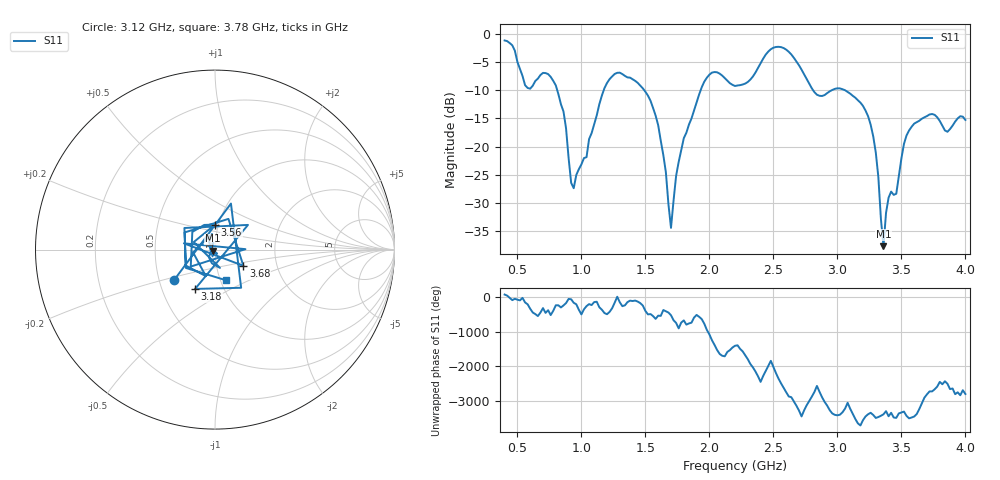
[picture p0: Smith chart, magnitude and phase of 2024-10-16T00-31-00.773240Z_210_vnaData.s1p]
! Created with skrf (http://scikit-rf.org).
# Hz S RI R 50.0
!freq ReS11 ImS11
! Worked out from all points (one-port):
!   181 points, 400 MHz to 4 GHz, reference 50 ohm
!   lowest |S11| = -37.6 dB at 3.36 GHz (marker M1), VSWR 1.03, Z = 48.8 - j0.567 ohm
!   |S11| at or under -10 dB: 811.2 MHz to 1.174 GHz (363.2 MHz wide, 36.6 % of centre); 1.491 GHz to 1.932 GHz (440.8 MHz wide, 25.8 % of centre); 3.06 GHz to end of sweep (the widest 3 of 4)
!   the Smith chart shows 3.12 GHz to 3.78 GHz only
!   S11 on the Smith chart (normalised r, x): 3.12 GHz: 0.60, -0.22; 3.18 GHz: 0.73, -0.34; 3.56 GHz: 0.96, +0.27; 3.68 GHz: 1.35, -0.25; 3.78 GHz: 1.06, -0.38
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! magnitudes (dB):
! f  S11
! 400 MHz  -1.2
! 560 MHz  -9.1
! 740 MHz  -7.1
! 860 MHz  -13.8
! 940 MHz  -27.4
! 1.18 GHz  -9.6
! 1.3 GHz  -6.9
! 1.58 GHz  -14.5
! 1.66 GHz  -24.5
! 1.7 GHz  -34.4
! 1.76 GHz  -22.7
! 1.98 GHz  -7.8
! 2.2 GHz  -9.2
! 2.5 GHz  -2.5
! 2.66 GHz  -4.3
! 2.84 GHz  -10.8
! 3.1 GHz  -10.6
! 3.12 GHz  -11.0
! 3.18 GHz  -12.2
! 3.28 GHz  -18.2
! 3.32 GHz  -25.4
! 3.36 GHz  -37.6
! 3.4 GHz  -29.0
! 3.46 GHz  -28.3
! 3.56 GHz  -17.1
! 3.68 GHz  -14.8
! 3.78 GHz  -14.8
! 4 GHz  -15.3
